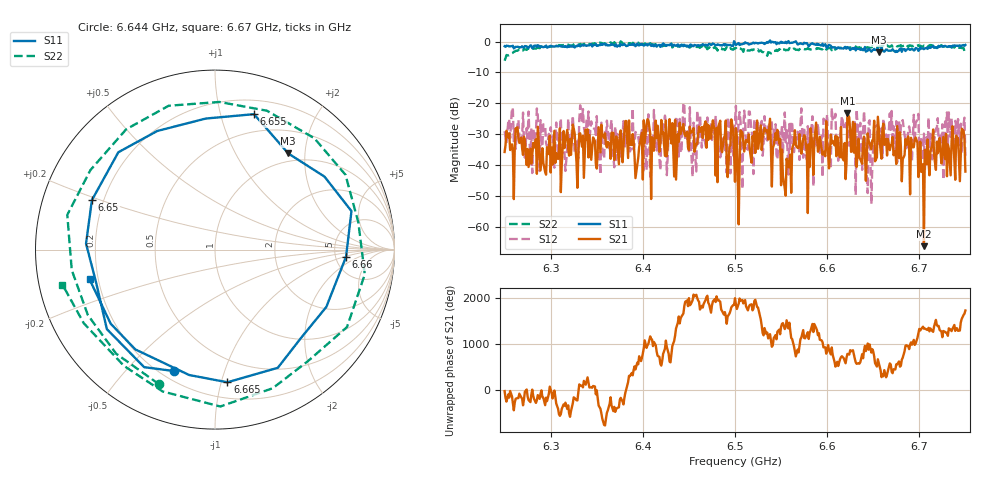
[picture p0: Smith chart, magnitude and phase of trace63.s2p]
# Hz S RI R 50
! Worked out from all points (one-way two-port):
!   401 points, 6.25 GHz to 6.75 GHz, reference 50 ohm
!   highest |S21| = -23.27 dB at 6.622 GHz (marker M1); lowest = -66.3 dB at 6.705 GHz (marker M2)
!   lowest |S11| = -3.4 dB at 6.656 GHz (marker M3), VSWR 5.13, Z = 42.9 + j84.1 ohm
!   |S11| at or under -10 dB: nowhere
!   |S22| runs from -6.2 to 0.1 dB; largest |S21 - S12| = 0.12
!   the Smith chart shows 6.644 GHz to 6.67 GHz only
!   S11 on the Smith chart (normalised r, x): 6.644 GHz: 0.25, -0.69; 6.65 GHz: 0.16, +0.19; 6.655 GHz: 0.32, +1.28; 6.66 GHz: 6.26, -1.07; 6.665 GHz: 0.32, -1.05; 6.67 GHz: 0.17, -0.11
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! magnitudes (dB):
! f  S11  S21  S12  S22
! 6.25 GHz  -1.5  -35.8  -29.0  -6.2
! 6.315 GHz  -1.7  -34.5  -36.3  -1.2
! 6.334 GHz  -1.1  -34.1  -25.7  -1.0
! 6.355 GHz  -0.8  -26.9  -26.3  -0.4
! 6.418 GHz  -1.1  -35.7  -38.4  -0.9
! 6.5 GHz  -0.6  -45.4  -26.0  -2.2
! 6.535 GHz  -0.1  -28.7  -32.1  -4.6
! 6.552 GHz  -0.3  -43.6  -36.3  -2.6
! 6.584 GHz  -0.5  -33.6  -24.2  -2.4
! 6.622 GHz  -1.8  -23.3  -24.7  -2.0
! 6.644 GHz  -2.9  -29.7  -49.1  -1.8
! 6.65 GHz  -2.6  -31.9  -34.2  -1.7
! 6.655 GHz  -2.1  -24.3  -33.2  -1.7
! 6.656 GHz  -3.4  -28.2  -27.8  -1.6
! 6.66 GHz  -2.7  -28.2  -37.6  -1.5
! 6.665 GHz  -2.6  -36.9  -31.8  -1.2
! 6.668 GHz  -3.0  -35.2  -23.2  -1.7
! 6.67 GHz  -2.9  -33.2  -22.5  -1.2
! 6.694 GHz  -2.8  -34.2  -23.7  -1.4
! 6.705 GHz  -2.4  -66.3  -29.8  -1.3
! 6.716 GHz  -2.0  -36.8  -32.4  -1.8
! 6.75 GHz  -1.1  -42.1  -37.2  -2.3
